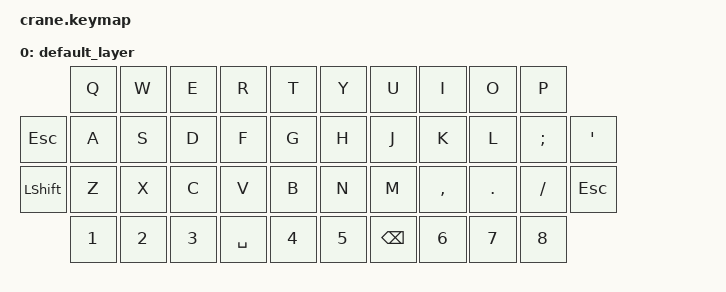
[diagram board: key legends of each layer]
/*
 * Copyright (c) 2020 The ZMK Contributors
 *
 * SPDX-License-Identifier: MIT
 */

#include <behaviors.dtsi>
#include <dt-bindings/zmk/keys.h>
#include <dt-bindings/zmk/bt.h>

/ {
        keymap {
                compatible = "zmk,keymap";

                default_layer {
// -----------------------------------------------------------------------------------------
//        |  Q  |  W  |  E  |  R  |  T  |   |  Y  |  U   |  I  |  O  |  P  |
// | ESC  |  A  |  S  |  D  |  F  |  G  |   |  H  |  J   |  K  |  L  |  ;  |  '   |
// | SHFT |  Z  |  X  |  C  |  V  |  B  |   |  N  |  M   |  ,  |  .  |  /  | ESC  |
//              | GUI | GUI | LWR | SPC |   | ENT | 6    | 7.  | 8   |
                    bindings = <
             &kp Q &kp W &kp E &kp R &kp T   &kp Y &kp U  &kp I     &kp O   &kp P    
   &kp ESC   &kp A &kp S &kp D &kp F &kp G   &kp H &kp J  &kp K     &kp L   &kp SEMI &kp SQT
   &kp LSHFT &kp Z &kp X &kp C &kp V &kp B   &kp N &kp M  &kp COMMA &kp DOT &kp FSLH &kp ESC
         &kp 1 &kp 2 &kp 3 &kp SPACE &kp 4   &kp 5 &kp BSPC &kp 6   &kp 7   &kp 8
                    >;
                };
        };
};
